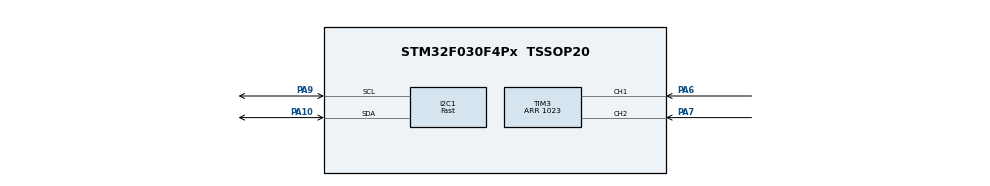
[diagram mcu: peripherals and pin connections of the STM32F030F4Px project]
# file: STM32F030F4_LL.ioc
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I2C1.I2C_Speed_Mode=I2C_Fast
I2C1.Timing=0x0000020B
Mcu.Family=STM32F0
Mcu.Name=STM32F030F4Px
Mcu.Package=TSSOP20
PA10.Mode=I2C
PA10.Signal=I2C1_SDA
PA6.Signal=S_TIM3_CH1
PA7.Signal=S_TIM3_CH2
PA9.Mode=I2C
PA9.Signal=I2C1_SCL
ProjectManager.HeapSize=0x200
ProjectManager.StackSize=0x400
ProjectManager.TargetToolchain=STM32CubeIDE
RCC.AHBFreq_Value=48000000
RCC.APB1Freq_Value=48000000
RCC.APB1TimFreq_Value=48000000
RCC.HCLKFreq_Value=48000000
RCC.PLLMUL=RCC_PLL_MUL12
RCC.SYSCLKFreq_VALUE=48000000
RCC.SYSCLKSource=RCC_SYSCLKSOURCE_PLLCLK
SH.S_TIM3_CH1.0=TIM3_CH1,Encoder_Interface
SH.S_TIM3_CH2.0=TIM3_CH2,Encoder_Interface
TIM3.EncoderMode=TIM_ENCODERMODE_TI12
TIM3.Period=1023
board=custom

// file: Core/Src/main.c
/* USER CODE BEGIN Header */
/**
  ******************************************************************************
  * @file           : main.c
  * @brief          : Main program body
  ******************************************************************************
  * @attention
  *
  * <h2><center>&copy; Copyright (c) 2020 STMicroelectronics.
  * All rights reserved.</center></h2>
  *
  * This software component is licensed by ST under BSD 3-Clause license,
  * the "License"; You may not use this file except in compliance with the
  * License. You may obtain a copy of the License at:
  *                        opensource.org/licenses/BSD-3-Clause
  *
  ******************************************************************************
  */
/* USER CODE END Header */

#include "main.h"

/* USER CODE BEGIN Includes */
#include "stm32f0xx_i2c_ll_impl.h"
#include "ssd1306.h"
#include "stdio.h"
#include <string.h>

/* USER CODE END Includes */

/* USER CODE BEGIN PD */
#define FM_MIN_FREQ		87.5
#define FM_MAX_FREQ		108.0

typedef enum {
	ENCODER_DIR_NONE = 0,
	ENCODER_DIR_UP,
	ENCODER_DIR_DOWN
} ENCODER_DIR;
/* USER CODE END PD */

void SystemClock_Config(void);
static void MX_GPIO_Init(void);
static void MX_I2C1_Init(void);
static void MX_TIM3_Init(void);
/* USER CODE BEGIN PFP */
volatile float freq = 107.4;
volatile uint16_t encoderValue = 0;
volatile uint16_t encoderValueOld = 0;
/* USER CODE END PFP */

/* USER CODE BEGIN 0 */
#define TEA_ADDR (0x60 << 1)

static void setFrequency(float frequency) {
	unsigned int frequencyB = 4 * (frequency * 1000000 + 225000) / 32768;
	uint8_t data_arr[5];
	data_arr[0] = frequencyB >> 8;
	data_arr[1] = frequencyB & 0XFF;
	data_arr[2] = 0xB0;
	data_arr[3] = 0x10;
	data_arr[4] = 0x00;
	LL_I2C_Master_Transmit(I2C1, TEA_ADDR, data_arr, sizeof(data_arr), true);
	//HAL_Delay(200);
}

void reverse(char *s)
{
    int i, j;
    char c;

    for (i = 0, j = strlen(s)-1; i<j; i++, j--) {
        c = s[i];
        s[i] = s[j];
        s[j] = c;
    }
}

uint8_t itoa_m(int n, char *s)
{
    int i, sign;
    memset(s, 0, strlen(s));
    if ((sign = n) < 0)  			/* record sign */
        n = -n;          			/* make n positive */
    i = 0;
    do {       						/* generate digits in reverse order */
        s[i++] = n % 10 + '0';   	/* get next digit */
    } while ((n /= 10) > 0);     	/* delete it */
    if (sign < 0)
        s[i++] = '-';
    s[i] = '\0';
    reverse(s);
    return i;
}

void printFreqStr(float freq) {
    char freqBuff[12] = {0};
    uint8_t cnt, cnt1;

    int iVal = (int)freq;
    int mVal = (int)((freq - iVal)*10);
    cnt = itoa_m(iVal, freqBuff);
    freqBuff[cnt++] = '.';
    cnt1 = itoa_m(mVal, freqBuff+cnt);
    cnt1 += cnt;
    freqBuff[cnt1++] = ' ';
    freqBuff[cnt1++] = 'M';
    freqBuff[cnt1++] = 'H';
    freqBuff[cnt1++] = 'z';

	ssd1306_SetCursor(1, 5);
	ssd1306_WriteString(freqBuff, Font_11x18, White);
	ssd1306_UpdateScreen();
}

ENCODER_DIR encoderHandler() {
	static uint8_t cntTick = 0;
	static ENCODER_DIR edir = ENCODER_DIR_NONE;

	encoderValue = TIM3->CNT;
	if ( (encoderValue != encoderValueOld) && (cntTick < 4) ) {
	  cntTick++;
	  if( encoderValue > encoderValueOld ) {
		  edir = ENCODER_DIR_DOWN;	//ENCODER_DIR_UP;
	  }
	  else if ( encoderValue < encoderValueOld ) {
		  edir = ENCODER_DIR_UP;	//ENCODER_DIR_DOWN;
	  }
	  encoderValueOld = encoderValue;
	}
	else if ( cntTick == 4 ) {
	  cntTick = 0;
	  return edir;
	}
	return ENCODER_DIR_NONE;
}
/* USER CODE END 0 */

int main(void)
{
  /* USER CODE BEGIN 1 */
	ENCODER_DIR edir = ENCODER_DIR_NONE;

  /* USER CODE END 1 */

  /* MCU Configuration--------------------------------------------------------*/

  /* Reset of all peripherals, Initializes the Flash interface and the Systick. */

  LL_APB1_GRP2_EnableClock(LL_APB1_GRP2_PERIPH_SYSCFG);
  LL_APB1_GRP1_EnableClock(LL_APB1_GRP1_PERIPH_PWR);

  /* System interrupt init*/

  /* Configure the system clock */
  SystemClock_Config();

  /* Initialize all configured peripherals */
  MX_GPIO_Init();
  MX_I2C1_Init();
  MX_TIM3_Init();

  /* USER CODE BEGIN 2 */
  ssd1306_Init();
  printFreqStr(freq);
  setFrequency(freq);
  /* USER CODE END 2 */

  /* Infinite loop */
  /* USER CODE BEGIN WHILE */
  while (1)
  {
	  edir = encoderHandler();
	  if( edir == ENCODER_DIR_UP ) {
		  if(freq < FM_MAX_FREQ) {
			  freq += 0.1;
			  setFrequency(freq);
			  printFreqStr(freq);
		  }
	  }
	  else if ( edir == ENCODER_DIR_DOWN ) {
		  if(freq > FM_MIN_FREQ) {
			  freq -= 0.1;
			  setFrequency(freq);
			  printFreqStr(freq);
		  }
	  }

    /* USER CODE END WHILE */

  }
}

void SystemClock_Config(void)
{
  LL_FLASH_SetLatency(LL_FLASH_LATENCY_1);

  if(LL_FLASH_GetLatency() != LL_FLASH_LATENCY_1)
  {
  Error_Handler();
  }
  LL_RCC_HSI_Enable();

   /* Wait till HSI is ready */
  while(LL_RCC_HSI_IsReady() != 1)
  {

  }
  LL_RCC_HSI_SetCalibTrimming(16);
  LL_RCC_PLL_ConfigDomain_SYS(LL_RCC_PLLSOURCE_HSI_DIV_2, LL_RCC_PLL_MUL_12);
  LL_RCC_PLL_Enable();

   /* Wait till PLL is ready */
  while(LL_RCC_PLL_IsReady() != 1)
  {

  }
  LL_RCC_SetAHBPrescaler(LL_RCC_SYSCLK_DIV_1);
  LL_RCC_SetAPB1Prescaler(LL_RCC_APB1_DIV_1);
  LL_RCC_SetSysClkSource(LL_RCC_SYS_CLKSOURCE_PLL);

   /* Wait till System clock is ready */
  while(LL_RCC_GetSysClkSource() != LL_RCC_SYS_CLKSOURCE_STATUS_PLL)
  {

  }
  LL_Init1msTick(48000000);
  LL_SYSTICK_SetClkSource(LL_SYSTICK_CLKSOURCE_HCLK);
  LL_SetSystemCoreClock(48000000);
  LL_RCC_SetI2CClockSource(LL_RCC_I2C1_CLKSOURCE_HSI);
}

static void MX_I2C1_Init(void)
{

  LL_I2C_InitTypeDef I2C_InitStruct = {0};

  LL_GPIO_InitTypeDef GPIO_InitStruct = {0};

  LL_AHB1_GRP1_EnableClock(LL_AHB1_GRP1_PERIPH_GPIOA);
  /**I2C1 GPIO Configuration
  PA9   ------> I2C1_SCL
  PA10   ------> I2C1_SDA
  */
  GPIO_InitStruct.Pin = LL_GPIO_PIN_9;
  GPIO_InitStruct.Mode = LL_GPIO_MODE_ALTERNATE;
  GPIO_InitStruct.Speed = LL_GPIO_SPEED_FREQ_HIGH;
  GPIO_InitStruct.OutputType = LL_GPIO_OUTPUT_OPENDRAIN;
  GPIO_InitStruct.Pull = LL_GPIO_PULL_UP;
  GPIO_InitStruct.Alternate = LL_GPIO_AF_4;
  LL_GPIO_Init(GPIOA, &GPIO_InitStruct);

  GPIO_InitStruct.Pin = LL_GPIO_PIN_10;
  GPIO_InitStruct.Mode = LL_GPIO_MODE_ALTERNATE;
  GPIO_InitStruct.Speed = LL_GPIO_SPEED_FREQ_HIGH;
  GPIO_InitStruct.OutputType = LL_GPIO_OUTPUT_OPENDRAIN;
  GPIO_InitStruct.Pull = LL_GPIO_PULL_UP;
  GPIO_InitStruct.Alternate = LL_GPIO_AF_4;
  LL_GPIO_Init(GPIOA, &GPIO_InitStruct);

  /* Peripheral clock enable */
  LL_APB1_GRP1_EnableClock(LL_APB1_GRP1_PERIPH_I2C1);

  /** I2C Initialization
  */
  LL_I2C_DisableOwnAddress2(I2C1);
  LL_I2C_DisableGeneralCall(I2C1);
  LL_I2C_EnableClockStretching(I2C1);
  I2C_InitStruct.PeripheralMode = LL_I2C_MODE_I2C;
  I2C_InitStruct.Timing = 0x0000020B;
  I2C_InitStruct.AnalogFilter = LL_I2C_ANALOGFILTER_ENABLE;
  I2C_InitStruct.DigitalFilter = 0;
  I2C_InitStruct.OwnAddress1 = 0;
  I2C_InitStruct.TypeAcknowledge = LL_I2C_ACK;
  I2C_InitStruct.OwnAddrSize = LL_I2C_OWNADDRESS1_7BIT;
  LL_I2C_Init(I2C1, &I2C_InitStruct);
  LL_I2C_EnableAutoEndMode(I2C1);
  LL_I2C_SetOwnAddress2(I2C1, 0, LL_I2C_OWNADDRESS2_NOMASK);

}

static void MX_TIM3_Init(void)
{

  LL_TIM_InitTypeDef TIM_InitStruct = {0};

  LL_GPIO_InitTypeDef GPIO_InitStruct = {0};

  /* Peripheral clock enable */
  LL_APB1_GRP1_EnableClock(LL_APB1_GRP1_PERIPH_TIM3);

  LL_AHB1_GRP1_EnableClock(LL_AHB1_GRP1_PERIPH_GPIOA);
  /**TIM3 GPIO Configuration
  PA6   ------> TIM3_CH1
  PA7   ------> TIM3_CH2
  */
  GPIO_InitStruct.Pin = LL_GPIO_PIN_6;
  GPIO_InitStruct.Mode = LL_GPIO_MODE_ALTERNATE;
  GPIO_InitStruct.Speed = LL_GPIO_SPEED_FREQ_LOW;
  GPIO_InitStruct.OutputType = LL_GPIO_OUTPUT_PUSHPULL;
  GPIO_InitStruct.Pull = LL_GPIO_PULL_NO;
  GPIO_InitStruct.Alternate = LL_GPIO_AF_1;
  LL_GPIO_Init(GPIOA, &GPIO_InitStruct);

  GPIO_InitStruct.Pin = LL_GPIO_PIN_7;
  GPIO_InitStruct.Mode = LL_GPIO_MODE_ALTERNATE;
  GPIO_InitStruct.Speed = LL_GPIO_SPEED_FREQ_LOW;
  GPIO_InitStruct.OutputType = LL_GPIO_OUTPUT_PUSHPULL;
  GPIO_InitStruct.Pull = LL_GPIO_PULL_NO;
  GPIO_InitStruct.Alternate = LL_GPIO_AF_1;
  LL_GPIO_Init(GPIOA, &GPIO_InitStruct);

  LL_TIM_SetEncoderMode(TIM3, LL_TIM_ENCODERMODE_X4_TI12);
  LL_TIM_IC_SetActiveInput(TIM3, LL_TIM_CHANNEL_CH1, LL_TIM_ACTIVEINPUT_DIRECTTI);
  LL_TIM_IC_SetPrescaler(TIM3, LL_TIM_CHANNEL_CH1, LL_TIM_ICPSC_DIV1);
  LL_TIM_IC_SetFilter(TIM3, LL_TIM_CHANNEL_CH1, LL_TIM_IC_FILTER_FDIV1);
  LL_TIM_IC_SetPolarity(TIM3, LL_TIM_CHANNEL_CH1, LL_TIM_IC_POLARITY_RISING);
  LL_TIM_IC_SetActiveInput(TIM3, LL_TIM_CHANNEL_CH2, LL_TIM_ACTIVEINPUT_DIRECTTI);
  LL_TIM_IC_SetPrescaler(TIM3, LL_TIM_CHANNEL_CH2, LL_TIM_ICPSC_DIV1);
  LL_TIM_IC_SetFilter(TIM3, LL_TIM_CHANNEL_CH2, LL_TIM_IC_FILTER_FDIV1);
  LL_TIM_IC_SetPolarity(TIM3, LL_TIM_CHANNEL_CH2, LL_TIM_IC_POLARITY_RISING);
  TIM_InitStruct.Prescaler = 0;
  TIM_InitStruct.CounterMode = LL_TIM_COUNTERMODE_UP;
  TIM_InitStruct.Autoreload = 1023;
  TIM_InitStruct.ClockDivision = LL_TIM_CLOCKDIVISION_DIV1;
  LL_TIM_Init(TIM3, &TIM_InitStruct);
  LL_TIM_DisableARRPreload(TIM3);
  LL_TIM_SetTriggerOutput(TIM3, LL_TIM_TRGO_RESET);
  LL_TIM_DisableMasterSlaveMode(TIM3);
  /* USER CODE BEGIN TIM3_Init 2 */

  /*TIM3->CCMR1 |= TIM_CCMR1_CC1S_0 | TIM_CCMR1_CC2S_0;
  TIM3->CCER = (uint32_t)0x00000000;;	// &= (~(TIM_CCER_CC2E | TIM_CCER_CC2P));	//
  TIM3->SMCR |= TIM_SMCR_SMS_0 | TIM_SMCR_SMS_1;
  TIM3->ARR = (uint32_t)0x3FF;*/
  TIM3->CR1 |= TIM_CR1_CEN;
  /* USER CODE END TIM3_Init 2 */

}

static void MX_GPIO_Init(void)
{

  /* GPIO Ports Clock Enable */
  LL_AHB1_GRP1_EnableClock(LL_AHB1_GRP1_PERIPH_GPIOA);

}

void Error_Handler(void)
{
}

/************************ (C) COPYRIGHT STMicroelectronics *****END OF FILE****/
